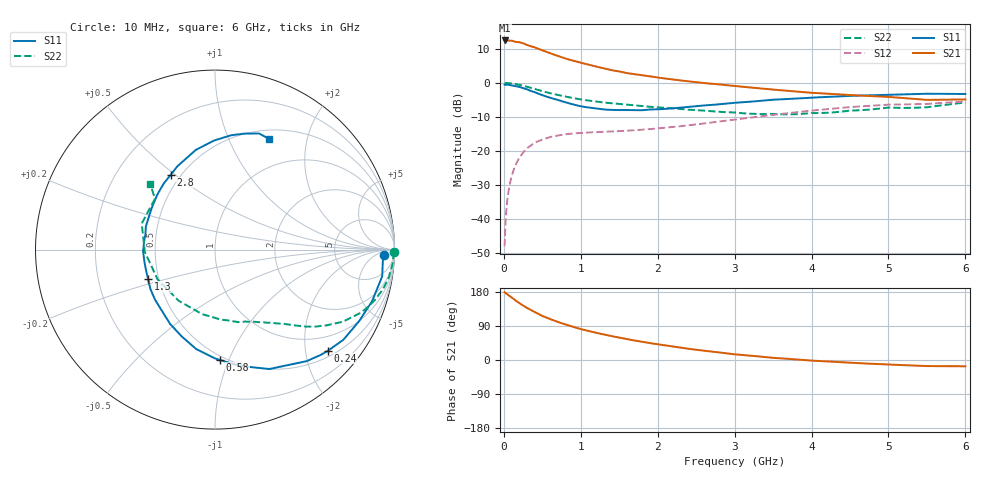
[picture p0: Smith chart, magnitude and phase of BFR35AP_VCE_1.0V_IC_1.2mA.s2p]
! Infineon Technologies  Discrete & RF Semiconductors
! BFR35AP
! VCE =  1.0 V,  IC =  1.2 mA
! Common Emitter S-Parameters:  Nov 2015
# GHz  S  MA  R  50
!  f  S11  S21  S12  S22
! GHz  MAG  ANG  MAG  ANG  MAG  ANG  MAG  ANG
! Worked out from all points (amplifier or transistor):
!   210 points, 10 MHz to 6 GHz, reference 50 ohm
!   highest |S21| = 12.4 dB at 10 MHz (marker M1)
!   |S21| within 3 dB of that: start of sweep to 512.6 MHz
!   unconditionally stable (mu >= 1): 1.272 GHz to end of sweep
!   at 185 MHz: K = 0.18, MSG = 17.3 dB, |S12| = -22.7 dB
!   at 1.52 GHz: K = 1.13, MAG = 6.5 dB, |S12| = -14.2 dB
!   at 6 GHz: K = 1.08, MAG = -1.4 dB, |S12| = -5.5 dB
!   S11 on the Smith chart (normalised r, x): 10 MHz: 27, -15; 240 MHz: 0.63, -2.48; 580 MHz: 0.47, -0.93; 1.3 GHz: 0.44, -0.17; 2.8 GHz: 0.44, +0.48; 6 GHz: 0.61, +1.42
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0.01  0.9443 -1.8  4.191 178.9  0.004 87.5  0.9992 -0.8
0.02  0.9372 -3.5  4.087 176.9  0.0082 86.7  0.9956 -1.8
0.03  0.9382 -5.4  4.115 175.4  0.0125 84.6  0.9943 -2.7
0.075  0.9294 -13.6  4.167 169.0  0.0315 80.3  0.9857 -6.8
0.1  0.9213 -18.2  4.171 165.3  0.0419 78.9  0.9807 -9.1
0.15  0.8965 -26.4  3.998 157.4  0.0614 73.3  0.9618 -13.2
0.2  0.874 -35.1  3.957 150.4  0.0788 68.7  0.9373 -17.1
0.24  0.8448 -41.8  3.841 145.0  0.0914 64.4  0.9126 -20.2
0.4  0.7311 -65.5  3.324 126.6  0.1318 52.3  0.817 -29.5
0.5  0.6612 -78.3  3.005 116.2  0.1473 46.3  0.7538 -34.0
0.58  0.6151 -87.5  2.777 109.8  0.1573 42.6  0.7144 -36.8
0.7  0.5638 -100.7  2.49 100.4  0.1689 38.1  0.6649 -40.2
0.8  0.5184 -110.9  2.275 93.6  0.1759 35.1  0.6288 -42.5
1.02  0.4484 -132.3  1.95 80.6  0.1842 31.3  0.5664 -46.9
1.3  0.4075 -156.3  1.63 67.3  0.1916 28.9  0.5145 -52.3
1.6  0.4008 -178.6  1.39 55.0  0.1987 28.8  0.4785 -57.9
2.02  0.41 155.1  1.188 40.9  0.2158 31.4  0.4348 -67.2
2.8  0.4845 120.5  0.949 19.9  0.2709 33.6  0.3757 -92.5
3.1  0.5182 111.4  0.877 13.3  0.2983 32.4  0.3585 -105.7
4.1  0.6137 88.7  0.704 -2.7  0.4006 24.0  0.3605 -158.0
5.1  0.6723 74.1  0.61 -12.8  0.4801 10.2  0.4298 156.3
6  0.6862 64.0  0.571 -16.6  0.5338 0.0  0.5153 134.6
